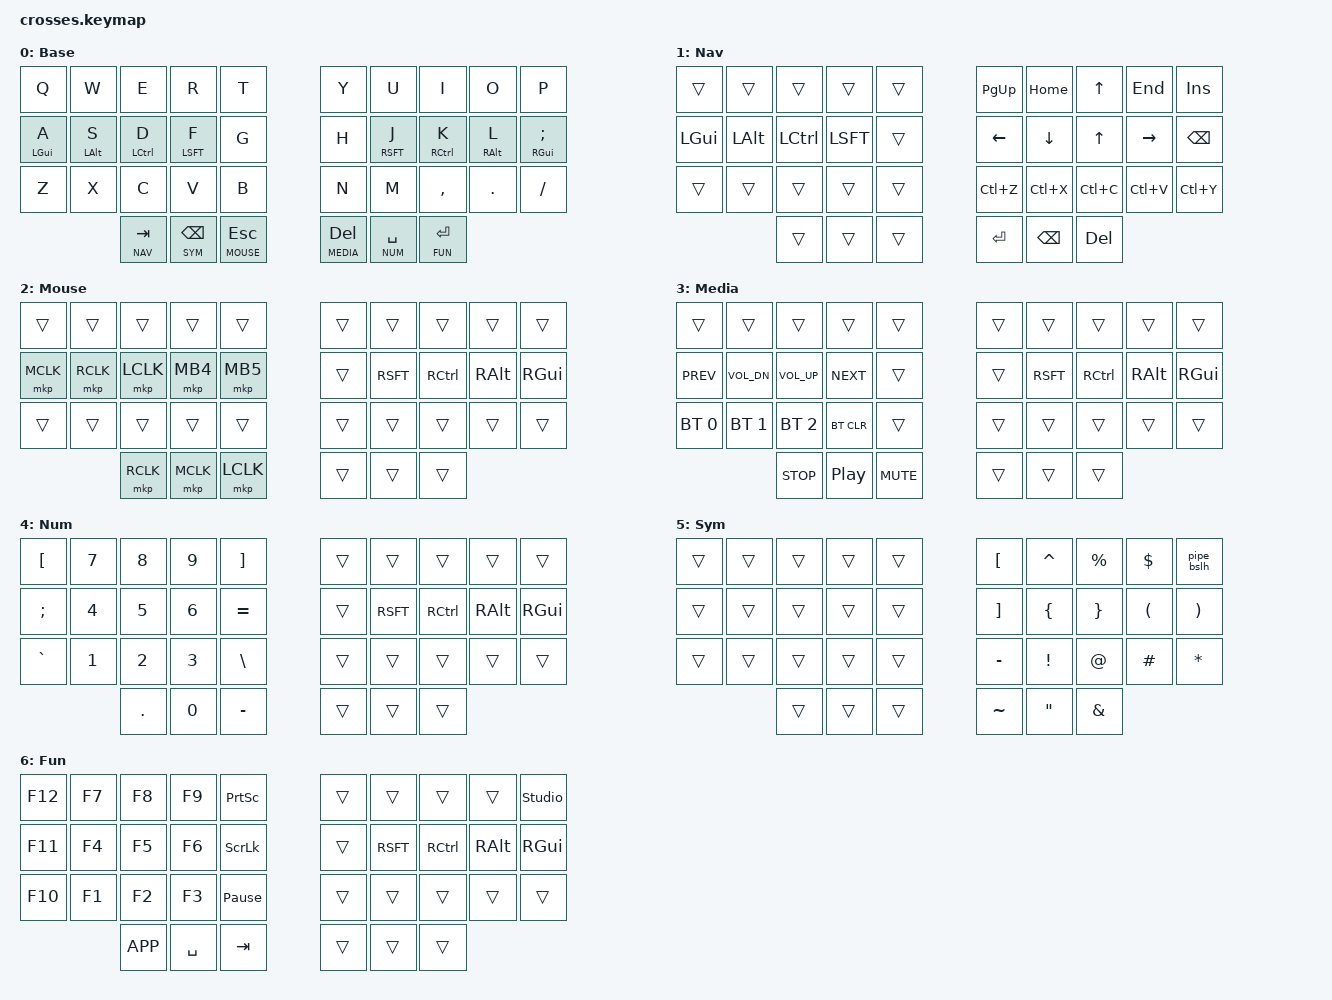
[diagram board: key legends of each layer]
#include <behaviors.dtsi>
#include <dt-bindings/zmk/keys.h>
#include <dt-bindings/zmk/bt.h>
#include <dt-bindings/zmk/pointing.h>

#define BASE  0
#define NAV   1
#define MOUSE 2
#define MEDIA 3
#define NUM   4
#define SYM   5
#define FUN   6

/ {
    chosen { zmk,physical-layout = &gggw_crosses_36_layout; };

    behaviors {
        as: auto_shift {
            compatible = "zmk,behavior-hold-tap";
            #binding-cells = <2>;
            tapping-term-ms = <200>;
            quick-tap-ms = <0>;
            flavor = "tap-preferred";
            bindings = <&kp>, <&kp>;
        };

        hml: homerow_mods_left {
            compatible = "zmk,behavior-hold-tap";
            #binding-cells = <2>;
            tapping-term-ms = <240>;
            quick-tap-ms = <175>;
            flavor = "balanced";
            bindings = <&kp>, <&kp>;
            hold-trigger-key-positions = <5 6 7 8 9 15 16 17 18 19 25 26 27 28 29 33 34 35>;
            hold-trigger-on-release;
        };

        hmr: homerow_mods_right {
            compatible = "zmk,behavior-hold-tap";
            #binding-cells = <2>;
            tapping-term-ms = <240>;
            quick-tap-ms = <175>;
            flavor = "balanced";
            bindings = <&kp>, <&kp>;
            hold-trigger-key-positions = <0 1 2 3 4 10 11 12 13 14 20 21 22 23 24 30 31 32>;
            hold-trigger-on-release;
        };

        pipe_bslh: pipe_bslh {
            compatible = "zmk,behavior-mod-morph";
            #binding-cells = <0>;
            bindings = <&kp PIPE>, <&kp BSLH>;
            mods = <(MOD_LSFT|MOD_RSFT)>;
        };
    };

    keymap {
        compatible = "zmk,keymap";

        // Key positions:
        //  0  1  2  3  4  |  5  6  7  8  9
        // 10 11 12 13 14  | 15 16 17 18 19
        // 20 21 22 23 24  | 25 26 27 28 29
        //       30 31 32  | 33 34 35

        base_layer {
            display-name = "Base";
            bindings = <
&kp Q         &kp W         &kp E          &kp R          &kp T        &kp Y        &kp U          &kp I          &kp O         &kp P
&hml LGUI A   &hml LALT S   &hml LCTRL D   &hml LSFT F    &kp G        &kp H        &hmr RSFT J    &hmr RCTRL K   &hmr RALT L   &hmr RGUI SEMI
&kp Z         &kp X         &kp C          &kp V          &kp B        &kp N        &kp M          &kp COMMA      &kp DOT       &kp FSLH
                            &lt NAV TAB  &lt SYM BSPC  &lt MOUSE ESC   &lt MEDIA DEL  &lt NUM SPACE  &lt FUN RET
            >;
        };

        nav_layer {
            display-name = "Nav";
            bindings = <
&trans     &trans    &trans     &trans    &trans    &kp PG_UP  &kp HOME   &kp UP     &kp END    &kp INS
&kp LGUI   &kp LALT  &kp LCTRL  &kp LSFT  &trans    &kp LEFT   &kp DOWN   &kp UP     &kp RIGHT  &kp BSPC
&trans     &trans    &trans     &trans    &trans    &kp LC(Z)  &kp LC(X)  &kp LC(C)  &kp LC(V)  &kp LC(Y)
                     &trans     &trans    &trans    &kp RET    &kp BSPC   &kp DEL
            >;
        };

        mouse_layer {
            display-name = "Mouse";
            bindings = <
&trans     &trans     &trans     &trans     &trans    &trans  &trans    &trans     &trans    &trans
&mkp MCLK  &mkp RCLK  &mkp LCLK  &mkp MB4   &mkp MB5  &trans  &kp RSFT  &kp RCTRL  &kp RALT  &kp RGUI
&trans     &trans     &trans     &trans     &trans    &trans  &trans    &trans     &trans    &trans
           &mkp RCLK  &mkp MCLK  &mkp LCLK            &trans  &trans    &trans
            >;
        };

        media_layer {
            display-name = "Media";
            bindings = <
&trans        &trans        &trans        &trans      &trans    &trans  &trans    &trans     &trans    &trans
&kp C_PREV    &kp C_VOL_DN  &kp C_VOL_UP  &kp C_NEXT  &trans    &trans  &kp RSFT  &kp RCTRL  &kp RALT  &kp RGUI
&bt BT_SEL 0  &bt BT_SEL 1  &bt BT_SEL 2  &bt BT_CLR  &trans    &trans  &trans    &trans     &trans    &trans
              &kp C_STOP    &kp C_PP      &kp C_MUTE            &trans  &trans    &trans
            >;
        };

        num_layer {
            display-name = "Num";
            bindings = <
&kp LBKT   &kp N7  &kp N8   &kp N9  &kp RBKT    &trans  &trans    &trans     &trans    &trans
&kp SEMI   &kp N4  &kp N5   &kp N6  &kp EQUAL   &trans  &kp RSFT  &kp RCTRL  &kp RALT  &kp RGUI
&kp GRAVE  &kp N1  &kp N2   &kp N3  &kp BSLH    &trans  &trans    &trans     &trans    &trans
                   &kp DOT  &kp N0  &kp MINUS   &trans  &trans    &trans
            >;
        };

        sym_layer {
            display-name = "Sym";
            bindings = <
&trans  &trans  &trans  &trans  &trans  &kp LBKT   &kp CARET  &kp PRCNT  &kp DLLR   &pipe_bslh
&trans  &trans  &trans  &trans  &trans  &kp RBKT   &kp LBRC   &kp RBRC   &kp LPAR   &kp RPAR
&trans  &trans  &trans  &trans  &trans  &kp MINUS  &kp EXCL   &kp AT     &kp HASH   &kp ASTRK
                &trans  &trans  &trans  &kp TILDE  &kp DQT    &kp AMPS
            >;
        };

        fun_layer {
            display-name = "Fun";
            bindings = <
&kp F12  &kp F7  &kp F8     &kp F9   &kp PSCRN         &trans  &trans    &trans     &trans    &studio_unlock
&kp F11  &kp F4  &kp F5     &kp F6   &kp SLCK           &trans  &kp RSFT  &kp RCTRL  &kp RALT  &kp RGUI
&kp F10  &kp F1  &kp F2     &kp F3   &kp PAUSE_BREAK    &trans  &trans    &trans     &trans    &trans
                 &kp K_APP  &kp SPACE  &kp TAB           &trans  &trans    &trans
            >;
        };
    };
};
